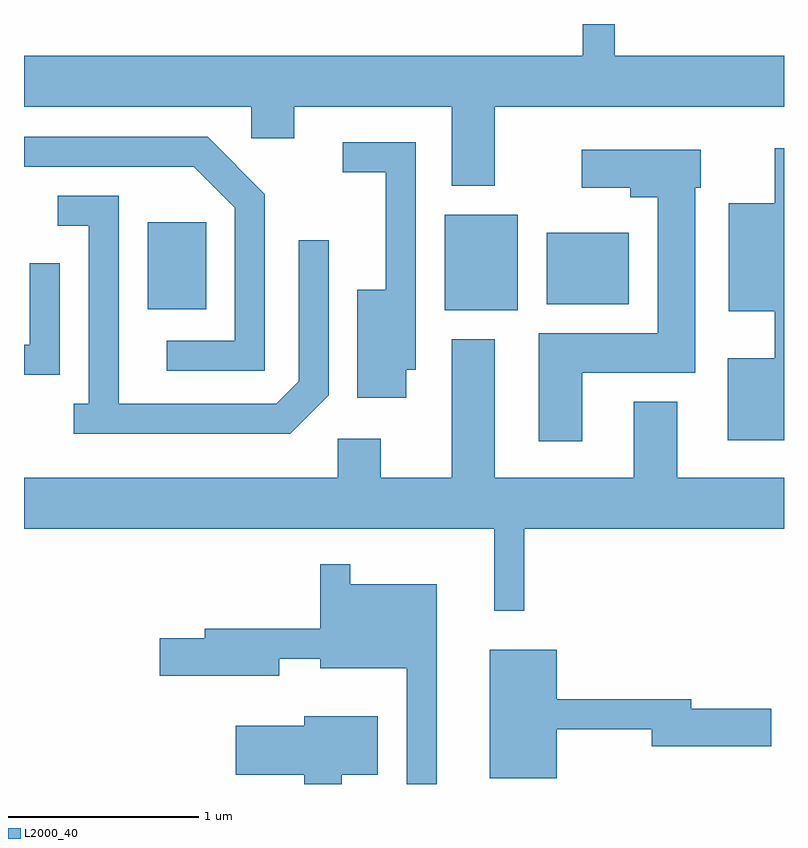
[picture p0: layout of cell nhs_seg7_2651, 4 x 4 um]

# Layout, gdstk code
import gdstk
lib = gdstk.Library(unit=1e-6, precision=1e-09)
def R(c, l, rs):  # rectangles x0, y0, x1, y1
    for r in rs: c.add(gdstk.rectangle(r[:2], r[2:], *l))
def P(c, l, *ps):  # polygons
    for p in ps: c.add(gdstk.Polygon(p, *l))
L2000_40 = (2000, 40)

nhs_seg7_2651 = lib.new_cell('nhs_seg7_2651')
R(nhs_seg7_2651, L2000_40, [(267.826,1768.746,268.209,1769.249), (266.261,1768.751,266.569,1769.209), (268.361,1768.776,268.794,1769.154)])
P(nhs_seg7_2651, L2000_40, [(268.089,1769.816),(269.611,1769.816),(269.611,1770.084),(268.719,1770.084),(268.719,1770.252),(268.551,1770.252),(268.551,1770.084),(265.611,1770.084),(265.611,1769.816),(266.806,1769.816),(266.806,1769.651),(267.034,1769.651),(267.034,1769.816),(267.861,1769.816),(267.861,1769.401),(268.089,1769.401)],
  [(266.879,1769.357),(266.577,1769.659),(265.611,1769.659),(265.611,1769.501),(266.504,1769.501),(266.721,1769.284),(266.721,1768.584),(266.363,1768.584),(266.363,1768.426),(266.879,1768.426)],
  [(267.624,1768.431),(267.674,1768.431),(267.674,1769.629),(267.288,1769.629),(267.288,1769.471),(267.516,1769.471),(267.516,1768.854),(267.366,1768.854),(267.366,1768.286),(267.624,1768.286)],
  [(269.611,1769.598),(269.561,1769.598),(269.561,1769.309),(269.321,1769.309),(269.321,1768.741),(269.561,1768.741),(269.561,1768.494),(269.316,1768.494),(269.316,1768.061),(269.611,1768.061)],
  [(268.549,1768.416),(269.144,1768.416),(269.144,1769.391),(269.174,1769.391),(269.174,1769.589),(268.546,1769.589),(268.546,1769.391),(268.801,1769.391),(268.801,1769.341),(268.946,1769.341),(268.946,1768.624),(268.321,1768.624),(268.321,1768.056),(268.549,1768.056)],
  [(267.214,1768.299),(267.214,1769.113),(267.056,1769.113),(267.056,1768.372),(266.939,1768.254),(266.109,1768.254),(266.109,1769.349),(265.788,1769.349),(265.788,1769.191),(265.951,1769.191),(265.951,1768.254),(265.873,1768.254),(265.873,1768.096),(267.012,1768.096)],
  [(265.799,1768.993),(265.641,1768.993),(265.641,1768.564),(265.611,1768.564),(265.611,1768.406),(265.799,1768.406)],
  [(268.244,1767.596),(269.611,1767.596),(269.611,1767.864),(269.049,1767.864),(269.049,1768.264),(268.821,1768.264),(268.821,1767.864),(268.089,1767.864),(268.089,1768.594),(267.861,1768.594),(267.861,1767.864),(267.489,1767.864),(267.489,1768.069),(267.261,1768.069),(267.261,1767.864),(265.611,1767.864),(265.611,1767.596),(268.086,1767.596),(268.086,1767.163),(268.244,1767.163)],
  [(267.784,1767.304),(267.329,1767.304),(267.329,1767.408),(267.171,1767.408),(267.171,1767.069),(266.561,1767.069),(266.561,1767.019),(266.326,1767.019),(266.326,1766.821),(266.954,1766.821),(266.954,1766.911),(267.171,1766.911),(267.171,1766.861),(267.626,1766.861),(267.626,1766.252),(267.784,1766.252)],
  [(268.414,1766.541),(268.916,1766.541),(268.916,1766.451),(269.544,1766.451),(269.544,1766.649),(269.124,1766.649),(269.124,1766.699),(268.414,1766.699),(268.414,1766.959),(268.061,1766.959),(268.061,1766.281),(268.414,1766.281)],
  [(267.284,1766.301),(267.474,1766.301),(267.474,1766.609),(267.086,1766.609),(267.086,1766.559),(266.726,1766.559),(266.726,1766.301),(267.086,1766.301),(267.086,1766.252),(267.284,1766.252)])

lib.write_gds('nhs_seg7_2651.gds')
